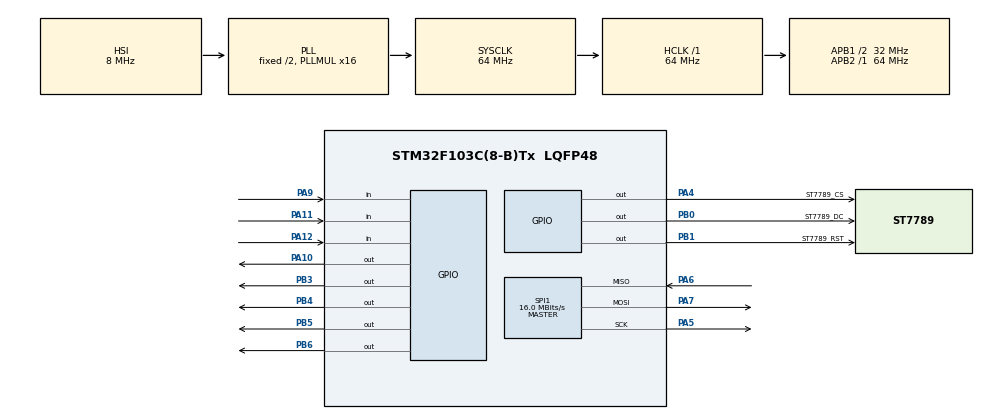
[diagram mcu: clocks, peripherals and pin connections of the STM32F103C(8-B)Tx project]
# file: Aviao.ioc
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Mcu.Family=STM32F1
Mcu.Name=STM32F103C(8-B)Tx
Mcu.Package=LQFP48
NVIC.PriorityGroup=NVIC_PRIORITYGROUP_4
PA10.Signal=GPIO_Output
PA11.Signal=GPIO_Input
PA12.Signal=GPIO_Input
PA13.Mode=Serial_Wire
PA13.Signal=SYS_JTMS-SWDIO
PA14.Mode=Serial_Wire
PA14.Signal=SYS_JTCK-SWCLK
PA4.GPIO_Label=ST7789_CS
PA4.Signal=GPIO_Output
PA5.Mode=Full_Duplex_Master
PA5.Signal=SPI1_SCK
PA6.Mode=Full_Duplex_Master
PA6.Signal=SPI1_MISO
PA7.Mode=Full_Duplex_Master
PA7.Signal=SPI1_MOSI
PA9.Signal=GPIO_Input
PB0.GPIO_Label=ST7789_DC
PB0.Signal=GPIO_Output
PB1.GPIO_Label=ST7789_RST
PB1.Signal=GPIO_Output
PB3.Signal=GPIO_Output
PB4.Signal=GPIO_Output
PB5.Signal=GPIO_Output
PB6.Signal=GPIO_Output
ProjectManager.HeapSize=0x200
ProjectManager.StackSize=0x400
ProjectManager.TargetToolchain=STM32CubeIDE
RCC.AHBFreq_Value=64000000
RCC.APB1CLKDivider=RCC_HCLK_DIV2
RCC.APB1Freq_Value=32000000
RCC.APB1TimFreq_Value=64000000
RCC.APB2Freq_Value=64000000
RCC.APB2TimFreq_Value=64000000
RCC.HCLKFreq_Value=64000000
RCC.PLLMUL=RCC_PLL_MUL16
RCC.SYSCLKFreq_VALUE=64000000
RCC.SYSCLKSource=RCC_SYSCLKSOURCE_PLLCLK
RCC.USBFreq_Value=64000000
SPI1.BaudRatePrescaler=SPI_BAUDRATEPRESCALER_4
SPI1.CLKPolarity=SPI_POLARITY_HIGH
SPI1.CalculateBaudRate=16.0 MBits/s
SPI1.Direction=SPI_DIRECTION_2LINES
SPI1.Mode=SPI_MODE_MASTER
SPI1.VirtualType=VM_MASTER
board=custom

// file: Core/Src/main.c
/* USER CODE BEGIN Header */
/**
  ******************************************************************************
  * @file           : main.c
  * @brief          : Main program body
  ******************************************************************************
  * @attention
  *
  * <h2><center>&copy; Copyright (c) 2025 STMicroelectronics.
  * All rights reserved.</center></h2>
  *
  * This software component is licensed by ST under BSD 3-Clause license,
  * the "License"; You may not use this file except in compliance with the
  * License. You may obtain a copy of the License at:
  *                        opensource.org/licenses/BSD-3-Clause
  *
  ******************************************************************************
  */
/* USER CODE END Header */
#include "main.h"
/* USER CODE BEGIN Includes */
#include "ST7789\ST7789.h"
#include "math.h"
/* USER CODE END Includes */

SPI_HandleTypeDef hspi1;

/* USER CODE BEGIN PV */
	//1 pixel 1km
int altura = 100;
int vo = 10;
int massa = 30;
int posicaodoalvo;
int posicaodolancamento;
double tempodequeda;
int gravidade=10;
/* USER CODE END PV */

void SystemClock_Config(void);
static void MX_GPIO_Init(void);
static void MX_SPI1_Init(void);

int main(void)
{

  /* MCU Configuration--------------------------------------------------------*/

  /* Reset of all peripherals, Initializes the Flash interface and the Systick. */
  HAL_Init();

  /* Configure the system clock */
  SystemClock_Config();

  /* Initialize all configured peripherals */
  MX_GPIO_Init();
  MX_SPI1_Init();
  /* USER CODE BEGIN 2 */
  ST7789_Init();
  /* USER CODE END 2 */

  /* Infinite loop */
  /* USER CODE BEGIN WHILE */
  ST7789_Fill_Color(BLUE);
  while (1)
  {
    /* USER CODE END WHILE */

    /* USER CODE BEGIN 3 */

	  posicaodoalvo = 168 + (srand()%49);
	  ST7789_DrawFilledRectangle(1, 239, 239 , 2, GREEN);
	  ST7789_DrawFilledRectangle(posicaodoalvo, 235, 8, 3, WHITE);

	  tempodequeda = sqrt((2*altura)/10);
	  posicaodolancamento = posicaodoalvo-vo*tempodequeda;
	  if(posicaodolancamento<0){
		  while(1);
	  }
	  altura = 240-altura;
	  int posicaoaviao=0;
	  while(posicaoaviao<=posicaodolancamento-15){
		  ST7789_DrawFilledRectangle(posicaoaviao, altura, 18, 8, BLUE);
		  posicaoaviao+=2;
		  ST7789_DrawFilledRectangle(posicaoaviao, altura, 18, 8, WHITE);
		  HAL_Delay(40);
	  }
	  double t=0;
	  double x = posicaodolancamento+vo*t;
	  double y = altura+(gravidade*t*t)/2;

	  while(t<=tempodequeda){

		  ST7789_DrawFilledRectangle(posicaoaviao, altura, 18, 8, BLUE);
		  posicaoaviao+=2;
		  ST7789_DrawFilledRectangle(posicaoaviao, altura, 18, 8, WHITE);

		  ST7789_DrawFilledRectangle(x, y, 4, 4, BLACK);
		  x = posicaodolancamento+vo*t;
		  y = altura+(10*t*t)/2;
		  ST7789_DrawFilledRectangle(x, y, 4, 4, RED);
		  HAL_Delay(40);
		  t+=0.2;

	  }
	  while(posicaoaviao<=240){
		  ST7789_DrawFilledRectangle(posicaoaviao, altura, 18, 8, BLUE);
		  posicaoaviao+=2;
		  ST7789_DrawFilledRectangle(posicaoaviao, altura, 18, 8, WHITE);
		  HAL_Delay(40);
	  }
	  while(1);

  }
  /* USER CODE END 3 */
}

void SystemClock_Config(void)
{
  RCC_OscInitTypeDef RCC_OscInitStruct = {0};
  RCC_ClkInitTypeDef RCC_ClkInitStruct = {0};

  /** Initializes the RCC Oscillators according to the specified parameters
  * in the RCC_OscInitTypeDef structure.
  */
  RCC_OscInitStruct.OscillatorType = RCC_OSCILLATORTYPE_HSI;
  RCC_OscInitStruct.HSIState = RCC_HSI_ON;
  RCC_OscInitStruct.HSICalibrationValue = RCC_HSICALIBRATION_DEFAULT;
  RCC_OscInitStruct.PLL.PLLState = RCC_PLL_ON;
  RCC_OscInitStruct.PLL.PLLSource = RCC_PLLSOURCE_HSI_DIV2;
  RCC_OscInitStruct.PLL.PLLMUL = RCC_PLL_MUL16;
  if (HAL_RCC_OscConfig(&RCC_OscInitStruct) != HAL_OK)
  {
    Error_Handler();
  }
  /** Initializes the CPU, AHB and APB buses clocks
  */
  RCC_ClkInitStruct.ClockType = RCC_CLOCKTYPE_HCLK|RCC_CLOCKTYPE_SYSCLK
                              |RCC_CLOCKTYPE_PCLK1|RCC_CLOCKTYPE_PCLK2;
  RCC_ClkInitStruct.SYSCLKSource = RCC_SYSCLKSOURCE_PLLCLK;
  RCC_ClkInitStruct.AHBCLKDivider = RCC_SYSCLK_DIV1;
  RCC_ClkInitStruct.APB1CLKDivider = RCC_HCLK_DIV2;
  RCC_ClkInitStruct.APB2CLKDivider = RCC_HCLK_DIV1;

  if (HAL_RCC_ClockConfig(&RCC_ClkInitStruct, FLASH_LATENCY_2) != HAL_OK)
  {
    Error_Handler();
  }
}

static void MX_SPI1_Init(void)
{

  /* SPI1 parameter configuration*/
  hspi1.Instance = SPI1;
  hspi1.Init.Mode = SPI_MODE_MASTER;
  hspi1.Init.Direction = SPI_DIRECTION_2LINES;
  hspi1.Init.DataSize = SPI_DATASIZE_8BIT;
  hspi1.Init.CLKPolarity = SPI_POLARITY_HIGH;
  hspi1.Init.CLKPhase = SPI_PHASE_1EDGE;
  hspi1.Init.NSS = SPI_NSS_SOFT;
  hspi1.Init.BaudRatePrescaler = SPI_BAUDRATEPRESCALER_4;
  hspi1.Init.FirstBit = SPI_FIRSTBIT_MSB;
  hspi1.Init.TIMode = SPI_TIMODE_DISABLE;
  hspi1.Init.CRCCalculation = SPI_CRCCALCULATION_DISABLE;
  hspi1.Init.CRCPolynomial = 10;
  if (HAL_SPI_Init(&hspi1) != HAL_OK)
  {
    Error_Handler();
  }

}

static void MX_GPIO_Init(void)
{
  GPIO_InitTypeDef GPIO_InitStruct = {0};

  /* GPIO Ports Clock Enable */
  __HAL_RCC_GPIOA_CLK_ENABLE();
  __HAL_RCC_GPIOB_CLK_ENABLE();

  /*Configure GPIO pin Output Level */
  HAL_GPIO_WritePin(GPIOA, ST7789_CS_Pin|GPIO_PIN_10, GPIO_PIN_RESET);

  /*Configure GPIO pin Output Level */
  HAL_GPIO_WritePin(GPIOB, ST7789_DC_Pin|ST7789_RST_Pin|GPIO_PIN_3|GPIO_PIN_4
                          |GPIO_PIN_5|GPIO_PIN_6, GPIO_PIN_RESET);

  /*Configure GPIO pins : ST7789_CS_Pin PA10 */
  GPIO_InitStruct.Pin = ST7789_CS_Pin|GPIO_PIN_10;
  GPIO_InitStruct.Mode = GPIO_MODE_OUTPUT_PP;
  GPIO_InitStruct.Pull = GPIO_NOPULL;
  GPIO_InitStruct.Speed = GPIO_SPEED_FREQ_LOW;
  HAL_GPIO_Init(GPIOA, &GPIO_InitStruct);

  /*Configure GPIO pins : ST7789_DC_Pin ST7789_RST_Pin PB3 PB4
                           PB5 PB6 */
  GPIO_InitStruct.Pin = ST7789_DC_Pin|ST7789_RST_Pin|GPIO_PIN_3|GPIO_PIN_4
                          |GPIO_PIN_5|GPIO_PIN_6;
  GPIO_InitStruct.Mode = GPIO_MODE_OUTPUT_PP;
  GPIO_InitStruct.Pull = GPIO_NOPULL;
  GPIO_InitStruct.Speed = GPIO_SPEED_FREQ_LOW;
  HAL_GPIO_Init(GPIOB, &GPIO_InitStruct);

  /*Configure GPIO pins : PA9 PA11 PA12 */
  GPIO_InitStruct.Pin = GPIO_PIN_9|GPIO_PIN_11|GPIO_PIN_12;
  GPIO_InitStruct.Mode = GPIO_MODE_INPUT;
  GPIO_InitStruct.Pull = GPIO_NOPULL;
  HAL_GPIO_Init(GPIOA, &GPIO_InitStruct);

}

void Error_Handler(void)
{
  __disable_irq();
  while (1)
  {
  }
}

/************************ (C) COPYRIGHT STMicroelectronics *****END OF FILE****/
